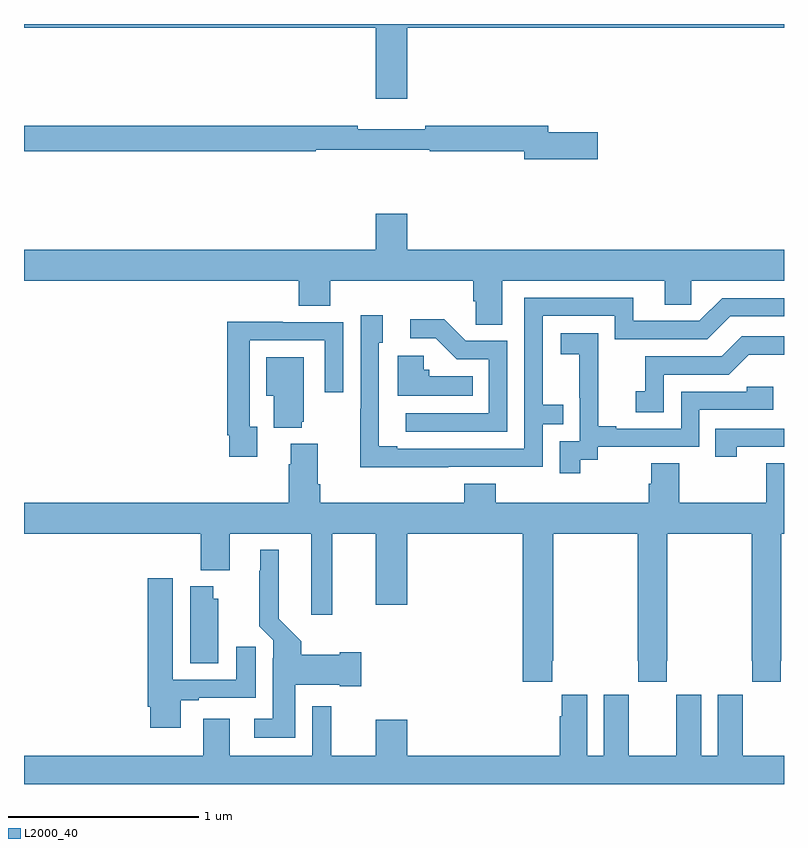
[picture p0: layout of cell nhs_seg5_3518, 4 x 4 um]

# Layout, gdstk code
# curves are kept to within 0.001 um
import gdstk
lib = gdstk.Library(unit=1e-6, precision=1e-09)
def P(c, l, *ps):  # polygons
    for p in ps: c.add(gdstk.Polygon(p, *l))
L2000_40 = (2000, 40)

nhs_seg5_3518 = lib.new_cell('nhs_seg5_3518')
P(nhs_seg5_3518, L2000_40, [(321.016,836.78),(323,836.78),(323,836.799),(319,836.799),(319,836.78),(320.852,836.78),(320.852,836.406),(321.016,836.406)],
  [(322.021,836.228),(321.76,836.228),(321.76,836.264),(321.112,836.264),(321.112,836.245),(320.756,836.245),(320.756,836.264),(319,836.264),(319,836.128),(320.536,836.128),(320.536,836.136),(321.136,836.136),(321.136,836.128),(321.632,836.128),(321.632,836.086),(322.021,836.086)],
  [(321.365,835.339),(321.378,835.339),(321.378,835.216),(321.517,835.216),(321.517,835.448),(322.373,835.448),(322.373,835.321),(322.512,835.321),(322.512,835.448),(323,835.448),(323,835.612),(321.016,835.612),(321.016,835.801),(320.852,835.801),(320.852,835.612),(319,835.612),(319,835.448),(320.447,835.448),(320.447,835.315),(320.612,835.315),(320.612,835.448),(321.365,835.448)],
  [(321.233,834.468),(321.729,834.468),(321.729,834.693),(321.839,834.693),(321.839,834.794),(321.729,834.794),(321.729,835.263),(322.11,835.263),(322.11,835.14),(322.596,835.14),(322.716,835.26),(323,835.26),(323,835.356),(322.674,835.356),(322.554,835.236),(322.207,835.236),(322.207,835.359),(321.633,835.359),(321.633,834.564),(320.965,834.564),(320.965,834.577),(320.868,834.577),(320.868,835.122),(320.887,835.122),(320.887,835.267),(320.772,835.267),(320.772,834.773),(320.77,834.773),(320.77,834.467)],
  [(321.543,835.131),(321.324,835.131),(321.211,835.244),(321.033,835.244),(321.033,835.146),(321.167,835.146),(321.278,835.035),(321.447,835.035),(321.447,834.75),(321.009,834.75),(321.009,834.654),(321.543,834.654)],
  [(320.227,834.678),(320.187,834.678),(320.187,835.134),(320.583,835.134),(320.583,834.861),(320.679,834.861),(320.679,835.23),(320.363,835.23),(320.363,835.232),(320.071,835.232),(320.071,834.634),(320.079,834.634),(320.079,834.522),(320.227,834.522)],
  [(321.928,834.505),(322.02,834.505),(322.02,834.573),(322.554,834.573),(322.554,834.768),(322.943,834.768),(322.943,834.891),(322.803,834.891),(322.803,834.864),(322.458,834.864),(322.458,834.669),(322.117,834.669),(322.117,834.682),(322.022,834.682),(322.022,834.965),(322.023,834.965),(322.023,835.171),(321.825,835.171),(321.825,835.061),(321.923,835.061),(321.923,834.833),(321.924,834.833),(321.924,834.603),(321.819,834.603),(321.819,834.435),(321.928,834.435)],
  [(322.368,834.954),(322.71,834.954),(322.814,835.058),(323,835.058),(323,835.155),(322.778,835.155),(322.673,835.05),(322.27,835.05),(322.27,834.865),(322.221,834.865),(322.221,834.756),(322.368,834.756)],
  [(321.362,834.946),(321.132,834.946),(321.132,834.978),(321.105,834.978),(321.105,835.054),(320.966,835.054),(320.966,834.842),(321.362,834.842)],
  [(320.462,834.705),(320.473,834.705),(320.473,835.045),(320.276,835.045),(320.276,834.842),(320.315,834.842),(320.315,834.674),(320.462,834.674)],
  [(322.75,834.573),(323,834.573),(323,834.669),(322.639,834.669),(322.639,834.522),(322.75,834.522)],
  [(321.779,833.449),(321.786,833.449),(321.786,834.116),(322.231,834.116),(322.231,833.449),(322.233,833.449),(322.233,833.337),(322.383,833.337),(322.383,833.449),(322.386,833.449),(322.386,834.116),(322.831,834.116),(322.831,833.449),(322.833,833.449),(322.833,833.337),(322.983,833.337),(322.983,833.449),(322.986,833.449),(322.986,834.116),(323,834.116),(323,834.488),(322.906,834.488),(322.906,834.28),(322.449,834.28),(322.449,834.488),(322.301,834.488),(322.301,834.378),(322.289,834.378),(322.289,834.28),(321.482,834.28),(321.482,834.379),(321.317,834.379),(321.317,834.28),(320.558,834.28),(320.558,834.376),(320.545,834.376),(320.545,834.589),(320.405,834.589),(320.405,834.482),(320.393,834.482),(320.393,834.28),(319,834.28),(319,834.116),(319.931,834.116),(319.931,833.924),(320.083,833.924),(320.083,834.116),(320.513,834.116),(320.513,833.691),(320.623,833.691),(320.623,834.116),(320.852,834.116),(320.852,833.742),(321.016,833.742),(321.016,834.116),(321.626,834.116),(321.626,833.337),(321.779,833.337)],
  [(320.428,833.321),(320.663,833.321),(320.663,833.314),(320.776,833.314),(320.776,833.492),(320.663,833.492),(320.663,833.479),(320.459,833.479),(320.459,833.55),(320.341,833.668),(320.341,834.031),(320.243,834.031),(320.243,833.921),(320.239,833.921),(320.239,833.63),(320.313,833.556),(320.313,833.462),(320.309,833.462),(320.309,833.143),(320.211,833.143),(320.211,833.042),(320.428,833.042)],
  [(319.825,833.241),(319.921,833.241),(319.921,833.253),(320.221,833.253),(320.221,833.521),(320.117,833.521),(320.117,833.349),(319.783,833.349),(319.783,833.881),(319.652,833.881),(319.652,833.206),(319.664,833.206),(319.664,833.094),(319.825,833.094)],
  [(320.023,833.775),(319.996,833.775),(319.996,833.839),(319.874,833.839),(319.874,833.434),(320.023,833.434)],
  [(323,832.948),(322.783,832.948),(322.783,833.156),(322.782,833.156),(322.782,833.269),(322.652,833.269),(322.652,832.948),(322.564,832.948),(322.564,833.269),(322.434,833.269),(322.434,833.156),(322.433,833.156),(322.433,832.948),(322.183,832.948),(322.183,833.156),(322.182,833.156),(322.182,833.269),(322.052,833.269),(322.052,832.948),(321.964,832.948),(321.964,833.269),(321.83,833.269),(321.83,833.156),(321.821,833.156),(321.821,832.948),(321.016,832.948),(321.016,833.137),(320.852,833.137),(320.852,832.948),(320.616,832.948),(320.616,833.209),(320.517,833.209),(320.517,832.948),(320.083,832.948),(320.083,833.143),(319.943,833.143),(319.943,832.948),(319,832.948),(319,832.799),(323,832.799)])

lib.write_gds('nhs_seg5_3518.gds')
